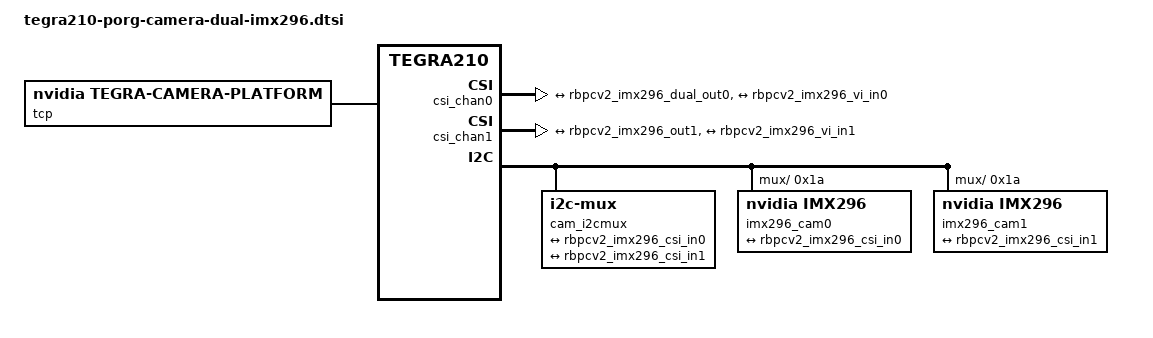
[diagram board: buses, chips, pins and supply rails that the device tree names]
#include <dt-bindings/media/camera.h>
#include <dt-bindings/platform/t210/t210.h>

/ {
	host1x {
		vi_base: vi {
			num-channels = <2>;
			ports {
				#address-cells = <1>;
				#size-cells = <0>;
				vi_port0: port@0 {
					reg = <0>;
					status = "okay";
					rbpcv2_imx296_vi_in0: endpoint {
						port-index = <0>;
						bus-width = <1>;
						remote-endpoint = <&rbpcv2_imx296_csi_out0>;
					};
				};
				vi_port1: port@1 {
					reg = <1>;
					status = "okay";
					rbpcv2_imx296_vi_in1: endpoint {
						port-index = <4>;
						bus-width = <1>;
						remote-endpoint = <&rbpcv2_imx296_csi_out1>;
					};
				};
			};
		};

		csi_base: nvcsi {
			num-channels = <2>;
			#address-cells = <1>;
			#size-cells = <0>;
			csi_chan0: channel@0 {
				reg = <0>;
				status = "okay";
				ports {
					#address-cells = <1>;
					#size-cells = <0>;
					csi_chan0_port0: port@0 {
						reg = <0>;
						status = "okay";
						rbpcv2_imx296_csi_in0: endpoint@0 {
							port-index = <0>;
							bus-width = <1>;
							remote-endpoint = <&rbpcv2_imx296_dual_out0>;
						};
					};
					csi_chan0_port1: port@1 {
						reg = <1>;
						status = "okay";
						rbpcv2_imx296_csi_out0: endpoint@1 {
							remote-endpoint = <&rbpcv2_imx296_vi_in0>;
						};
					};
				};
			};
			csi_chan1: channel@1 {
				reg = <1>;
				status = "okay";
				ports {
					#address-cells = <1>;
					#size-cells = <0>;
					csi_chan1_port0: port@2 {
						reg = <0>;
						status = "okay";
						rbpcv2_imx296_csi_in1: endpoint@2 {
							port-index = <4>;
							bus-width = <1>;
							remote-endpoint = <&rbpcv2_imx296_out1>;
						};
					};
					csi_chan1_port1: port@3 {
						reg = <1>;
						status = "okay";
						rbpcv2_imx296_csi_out1: endpoint@3 {
							remote-endpoint = <&rbpcv2_imx296_vi_in1>;
						};
					};
				};
			};
		};
	};

	cam_i2cmux {
		status = "okay";
		i2c_0: i2c@0 {
			status = "okay";
			imx296_cam0: rbpcv2_imx296_a@1a {
				compatible = "nvidia,imx296";
				/* I2C device address */
				reg = <0x1a>;
				status = "okay";

				/* V4L2 device node location */
				devnode = "video0";

				/* Physical dimensions of sensor */
				physical_w = "30.680";
				physical_h = "20.760";

				sensor_model = "imx296";

				use_sensor_mode_id = "true";

				mode0 { /* IMX296_MODE_1440x1088_60FPS */
					mclk_khz = "54000";
					num_lanes = "1";
					tegra_sinterface = "serial_a";
					phy_mode = "DPHY";
					discontinuous_clk = "no";
					dpcm_enable = "true";
					cil_settletime =  "0";

					csi_pixel_bit_depth = "8";

					active_w = "1440";
					active_h = "1088";
					pixel_t = "gray_y10";
					readout_orientation = "0";
					line_length = "1440";
					inherent_gain = "10";
					mclk_multiplier = "9.33";
					pix_clk_hz = "118800000";

					serdes_pix_clk_hz = "118800000";

					gain_factor = "16";
					framerate_factor = "1000000";
					exposure_factor = "1000000";
					min_gain_val = "1"; /* 1.00x */
					max_gain_val = "480"; /* 10.66x */
					step_gain_val = "1";
					default_gain = "200"; /* 1.00x */
					min_hdr_ratio = "3";
					max_hdr_ratio = "3";
					min_framerate = "60000000"; /* 60.0 fps */
					max_framerate = "60000000"; /* 60.0 fps */
					step_framerate = "1";
					default_framerate = "60000000"; /* 60.0 fps */
					min_exp_time = "29";
					max_exp_time = "15534389";
					step_exp_time = "1";
					default_exp_time = "5000";

					embedded_metadata_height = "0";
				};


				ports {
					#address-cells = <1>;
					#size-cells = <0>;

					port@0 {
						reg = <0>;
						rbpcv2_imx296_dual_out0: endpoint {
							status = "okay";
							port-index = <0>;
							bus-width = <1>;
							remote-endpoint = <&rbpcv2_imx296_csi_in0>;
						};
					};
				};
			};
		};
		i2c_1: i2c@1 {
			imx296_cam1: rbpcv2_imx296_e@1a {
				compatible = "nvidia,imx296";
				/* I2C device address */
				reg = <0x1a>;
				status = "okay";

				/* V4L2 device node location */
				devnode = "video1";

				/* Physical dimensions of sensor */
				physical_w = "3.680";
				physical_h = "2.760";

				sensor_model = "imx296";

				use_sensor_mode_id = "true";

				mode0 { /* IMX296_MODE_1440x1088_60FPS */
					mclk_khz = "54000";
					num_lanes = "1";
					tegra_sinterface = "serial_e";
					phy_mode = "DPHY"; //"CPHY"; //"DPHY";
					discontinuous_clk = "no"; //"yes";
					dpcm_enable = "true"; //"false";
					cil_settletime =  "0";

					active_w = "1440";
					active_h = "1088";
					pixel_t = "gray_y10";
					readout_orientation = "90";
					line_length = "1440";
					inherent_gain = "1";
					mclk_multiplier = "9.33";
					pix_clk_hz = "118800000";

					gain_factor = "16";
					framerate_factor = "1000000";
					exposure_factor = "1000000";
					min_gain_val = "1"; /* 1.00x */
					max_gain_val = "480"; /* 10.66x */
					step_gain_val = "1";
					default_gain = "16"; /* 1.00x */
					min_hdr_ratio = "1";
					max_hdr_ratio = "1";
					min_framerate = "60000000"; /* 60.0 fps */
					max_framerate = "60000000"; /* 60.0 fps */
					step_framerate = "1";
					default_framerate = "60000000"; /* 60.0 fps */
					min_exp_time = "29";
					max_exp_time = "15534389";
					step_exp_time = "1";
					default_exp_time = "5000";

					embedded_metadata_height = "0";
				};


				ports {
					#address-cells = <1>;
					#size-cells = <0>;

					port@0 {
						reg = <0>;
						status = "okay";
						rbpcv2_imx296_out1: endpoint {
							status = "okay";
							port-index = <4>;
							bus-width = <1>;
							remote-endpoint = <&rbpcv2_imx296_csi_in1>;
						};
					};
				};
			};
		};
	};

	lens_imx296@RBPCV2 {
		min_focus_distance = "0.0";
		hyper_focal = "0.0";
		focal_length = "3.04";
		f_number = "2.0";
		aperture = "0.0";
	};
};

/ {
	tcp: tegra-camera-platform {
		compatible = "nvidia, tegra-camera-platform";

		num_csi_lanes = <1>;
		max_lane_speed = <1500000>;
		min_bits_per_pixel = <10>;
		vi_peak_byte_per_pixel = <2>;
		vi_bw_margin_pct =  <25>;
		max_pixel_rate = <1188000>;
		isp_peak_byte_per_pixel = <5>;
		isp_bw_margin_pct = <25>;

		modules {
			cam_module0: module0 {
				status = "okay";
				badge = "porg_front_RBPCV2";
				position = "front";
				orientation = "1";
				cam_module0_drivernode0: drivernode0 {
					status = "okay";
					pcl_id = "v4l2_sensor";
					devname = "imx296 7-001a";
					proc-device-tree = "/proc/device-tree/cam_i2cmux/i2c@0/rbpcv2_imx296_a@1a";
				};
				cam_module0_drivernode1: drivernode1 {
					status = "okay";
					pcl_id = "v4l2_lens";
					proc-device-tree = "/proc/device-tree/lens_imx296@RBPCV2/";
				};
			};
			cam_module1: module1 {
				status = "okay";
				badge = "porg_rear_RBPCV2";
				position = "rear";
				orientation = "1";
				cam_module1_drivernode0: drivernode0 {
					status = "okay";
					pcl_id = "v4l2_sensor";
					devname = "imx296 8-001a";
					proc-device-tree = "/proc/device-tree/cam_i2cmux/i2c@1/rbpcv2_imx296_e@1a";
				};
				cam_module1_drivernode1: drivernode1 {
					status = "okay";
					pcl_id = "v4l2_lens";
					proc-device-tree = "/proc/device-tree/lens_imx296@RBPCV2/";
				};
			};
		};
	};
};
